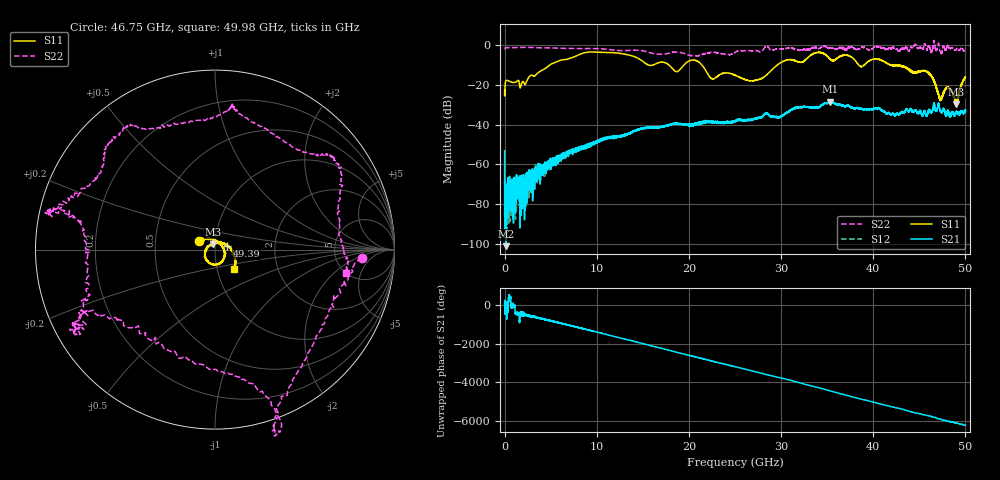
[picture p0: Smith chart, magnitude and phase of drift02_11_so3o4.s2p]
!Created with skrf (http://scikit-rf.org).
# Hz S RI R 50.0
!freq ReS11 ImS11 ReS21 ImS21 ReS12 ImS12 ReS22 ImS22
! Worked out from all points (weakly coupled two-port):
!   10001 points, 300 kHz to 50 GHz, reference 50 ohm
!   highest |S21| = -28.56 dB at 35.31 GHz (marker M1); lowest = -101.0 dB at 125.3 MHz (marker M2)
!   lowest |S11| = -29.9 dB at 49.02 GHz (marker M3), VSWR 1.07, Z = 48.8 + j2.91 ohm
!   |S11| at or under -10 dB: start of sweep to 4.958 GHz; 21.38 GHz to 29.63 GHz (8.256 GHz wide, 32.4 % of centre); 41.83 GHz to end of sweep (the widest 3 of 10)
!   |S22| runs from -5.7 to 2.1 dB; largest |S21 - S12| = 0.0033
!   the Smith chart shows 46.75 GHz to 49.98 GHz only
!   S11 on the Smith chart (normalised r, x): 46.75 GHz: 0.83, +0.08; 49.39 GHz: 1.15, +0.05; 49.98 GHz: 1.21, -0.27
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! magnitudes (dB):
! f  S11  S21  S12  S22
! 300 kHz  -22.8  -53.1  -68.7  -2.1
! 125.3 MHz  -18.3  -101.0  -74.4  -1.5
! 255.3 MHz  -17.9  -75.2  -91.4  -1.4
! 1.975 GHz  -18.4  -77.7  -74.2  -1.3
! 3.64 GHz  -14.0  -64.5  -60.0  -1.5
! 8.335 GHz  -4.5  -51.4  -51.3  -1.9
! 16.67 GHz  -9.1  -41.2  -41.3  -4.8
! 20.59 GHz  -7.7  -39.9  -39.9  -5.7
! 22.5 GHz  -17.1  -39.0  -38.6  -3.8
! 25 GHz  -15.3  -38.4  -38.3  -3.9
! 27.47 GHz  -17.6  -36.5  -36.7  -3.2
! 33.34 GHz  -4.9  -31.2  -31.3  -1.5
! 35.31 GHz  -7.0  -28.6  -28.8  -1.4
! 41.67 GHz  -9.7  -34.2  -34.2  -1.9
! 45.75 GHz  -13.4  -35.5  -35.2  -1.5
! 46.75 GHz  -19.9  -32.8  -32.4  -1.7
! 47.27 GHz  -26.7  -33.2  -32.7  -3.4
! 48.14 GHz  -21.6  -33.0  -33.4  -0.8
! 49.02 GHz  -29.9  -33.7  -33.9  -2.1
! 49.39 GHz  -22.9  -34.1  -34.4  -2.6
! 49.98 GHz  -16.3  -32.6  -33.3  -2.6
! 50 GHz  -16.3  -33.6  -32.7  -2.6
